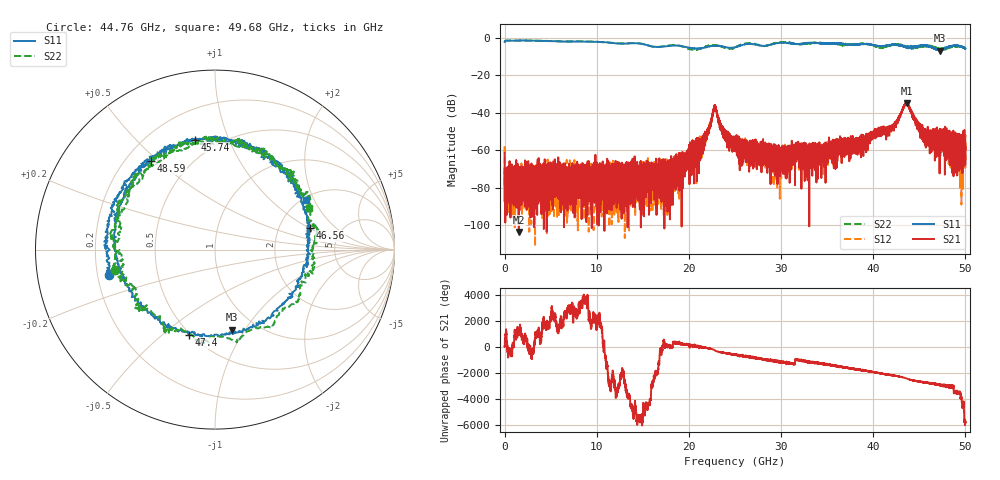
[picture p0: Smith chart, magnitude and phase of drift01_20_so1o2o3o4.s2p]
!Created with skrf (http://scikit-rf.org).
# Hz S RI R 50.0
!freq ReS11 ImS11 ReS21 ImS21 ReS12 ImS12 ReS22 ImS22
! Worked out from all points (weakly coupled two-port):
!   10001 points, 300 kHz to 50 GHz, reference 50 ohm
!   highest |S21| = -34.82 dB at 43.65 GHz (marker M1); lowest = -103.6 dB at 1.545 GHz (marker M2)
!   lowest |S11| = -6.8 dB at 47.2 GHz (marker M3), VSWR 2.68, Z = 38.8 - j43.7 ohm
!   |S11| at or under -10 dB: nowhere
!   |S22| runs from -6.4 to -1.4 dB; largest |S21 - S12| = 0.0037
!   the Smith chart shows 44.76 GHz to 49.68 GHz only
!   S11 on the Smith chart (normalised r, x): 44.76 GHz: 0.25, -0.11; 45.74 GHz: 0.38, +0.76; 46.56 GHz: 3.00, +1.02; 47.4 GHz: 0.49, -0.62; 48.59 GHz: 0.30, +0.47; 49.68 GHz: 2.10, +1.72
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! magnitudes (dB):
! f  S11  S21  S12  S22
! 300 kHz  -2.1  -61.4  -57.8  -2.1
! 255.3 MHz  -1.4  -80.1  -72.2  -1.4
! 1.545 GHz  -1.4  -103.6  -90.7  -1.4
! 8.335 GHz  -1.9  -68.0  -84.0  -1.8
! 16.67 GHz  -4.8  -71.6  -75.6  -4.8
! 20.66 GHz  -5.6  -61.2  -62.3  -6.3
! 21.75 GHz  -5.1  -52.2  -53.0  -4.8
! 22.81 GHz  -4.3  -35.9  -36.2  -4.0
! 23.94 GHz  -4.9  -52.0  -52.2  -5.4
! 25 GHz  -5.0  -53.6  -56.8  -5.1
! 29.65 GHz  -2.7  -63.1  -59.5  -2.5
! 33.34 GHz  -2.6  -56.3  -63.9  -2.7
! 41.67 GHz  -3.9  -49.2  -48.1  -4.3
! 43.65 GHz  -4.8  -34.8  -35.2  -5.1
! 44.76 GHz  -4.3  -44.0  -47.6  -4.9
! 45.74 GHz  -4.1  -50.8  -53.5  -4.2
! 46.56 GHz  -5.3  -50.2  -52.6  -4.7
! 47.2 GHz  -6.8  -54.2  -51.0  -6.0
! 47.4 GHz  -6.1  -53.8  -59.2  -5.7
! 48.59 GHz  -4.3  -68.9  -54.5  -4.6
! 49.68 GHz  -4.8  -53.4  -56.6  -4.8
! 50 GHz  -5.7  -59.2  -58.0  -5.4
